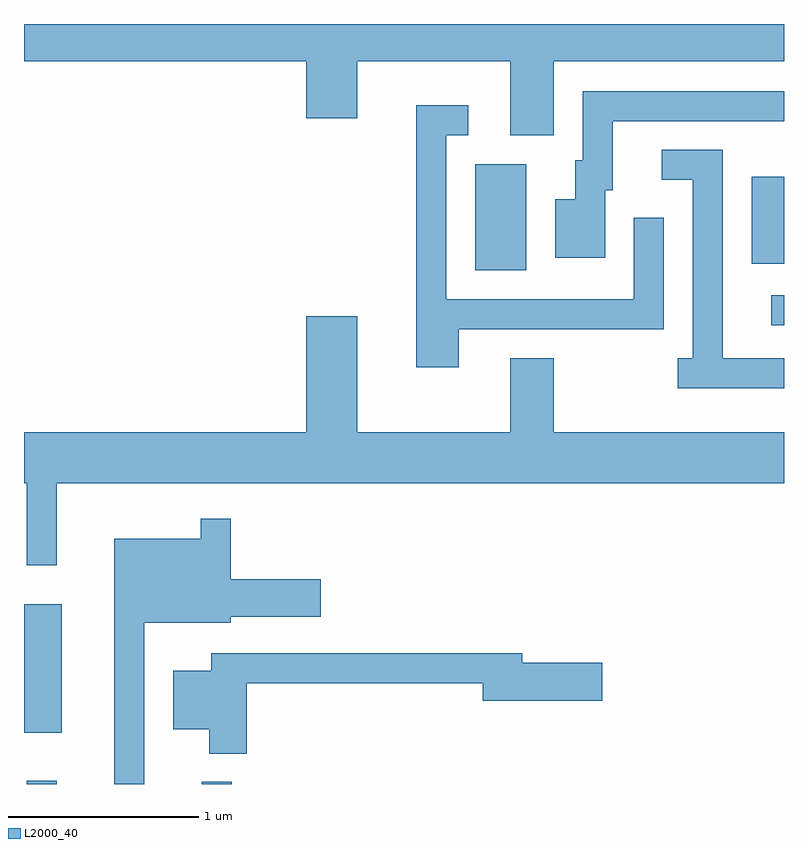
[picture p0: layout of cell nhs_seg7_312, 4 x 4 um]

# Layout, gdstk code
import gdstk
lib = gdstk.Library(unit=1e-6, precision=1e-09)
def R(c, l, rs):  # rectangles x0, y0, x1, y1
    for r in rs: c.add(gdstk.rectangle(r[:2], r[2:], *l))
def P(c, l, *ps):  # polygons
    for p in ps: c.add(gdstk.Polygon(p, *l))
L2000_40 = (2000, 40)

nhs_seg7_312 = lib.new_cell('nhs_seg7_312')
R(nhs_seg7_312, L2000_40, [(193.626,1748.252,193.784,1748.268), (194.546,1748.252,194.704,1748.263), (193.611,1748.521,193.809,1749.199), (197.543,1750.666,197.611,1750.824), (195.986,1750.956,196.254,1751.514), (197.441,1750.991,197.611,1751.449)])
P(nhs_seg7_312, L2000_40, [(196.399,1752.056),(197.611,1752.056),(197.611,1752.252),(193.611,1752.252),(193.611,1752.056),(195.096,1752.056),(195.096,1751.756),(195.364,1751.756),(195.364,1752.056),(196.171,1752.056),(196.171,1751.666),(196.399,1751.666)],
  [(196.669,1751.376),(196.709,1751.376),(196.709,1751.741),(197.611,1751.741),(197.611,1751.899),(196.551,1751.899),(196.551,1751.534),(196.511,1751.534),(196.511,1751.329),(196.406,1751.329),(196.406,1751.021),(196.669,1751.021)],
  [(195.899,1750.646),(196.979,1750.646),(196.979,1751.233),(196.821,1751.233),(196.821,1750.804),(195.834,1750.804),(195.834,1751.666),(195.948,1751.666),(195.948,1751.824),(195.676,1751.824),(195.676,1750.446),(195.899,1750.446)],
  [(197.611,1750.494),(197.289,1750.494),(197.289,1751.589),(196.968,1751.589),(196.968,1751.431),(197.131,1751.431),(197.131,1750.494),(197.053,1750.494),(197.053,1750.336),(197.611,1750.336)],
  [(193.784,1749.836),(197.611,1749.836),(197.611,1750.104),(196.399,1750.104),(196.399,1750.494),(196.171,1750.494),(196.171,1750.104),(195.364,1750.104),(195.364,1750.714),(195.096,1750.714),(195.096,1750.104),(193.611,1750.104),(193.611,1749.836),(193.626,1749.836),(193.626,1749.403),(193.784,1749.403)],
  [(194.244,1749.101),(194.699,1749.101),(194.699,1749.131),(195.174,1749.131),(195.174,1749.329),(194.699,1749.329),(194.699,1749.648),(194.541,1749.648),(194.541,1749.544),(194.086,1749.544),(194.086,1748.252),(194.244,1748.252)],
  [(194.784,1748.781),(196.026,1748.781),(196.026,1748.691),(196.654,1748.691),(196.654,1748.889),(196.234,1748.889),(196.234,1748.939),(194.596,1748.939),(194.596,1748.849),(194.396,1748.849),(194.396,1748.541),(194.586,1748.541),(194.586,1748.411),(194.784,1748.411)])

lib.write_gds('nhs_seg7_312.gds')
